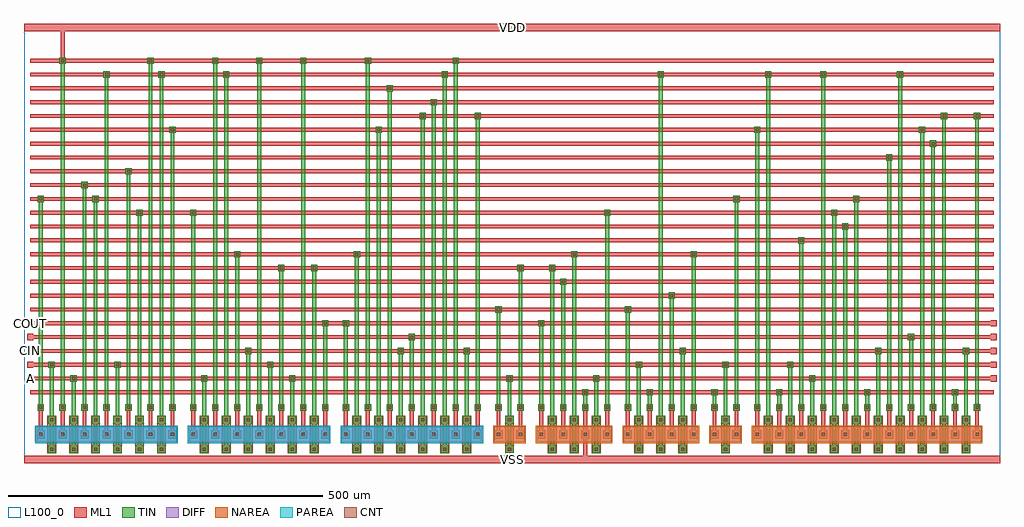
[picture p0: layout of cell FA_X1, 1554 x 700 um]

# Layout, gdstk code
import gdstk
lib = gdstk.Library(unit=1e-6, precision=1e-09)
def R(c, l, rs):  # rectangles x0, y0, x1, y1
    for r in rs: c.add(gdstk.rectangle(r[:2], r[2:], *l))
def A(c, l, x, y, w, h, nx, ny, dx, dy):  # array of equal rectangles
    R(c, l, [(x+i*dx, y+j*dy, x+i*dx+w, y+j*dy+h) for i in range(nx) for j in range(ny)])
DIFF = (3, 0)
TIN = (5, 0)
CNT = (7, 0)
ML1 = (8, 0)
PAREA = (18, 0)
NAREA = (19, 0)
L100_0 = (100, 0)

fa_x1 = lib.new_cell('FA_X1')
A(fa_x1, DIFF, 20, 34, 223, 24, 3, 1, 243, 0)
R(fa_x1, DIFF, [(749,34,797,58), (817,34,935,58), (955,34,1073,58), (1093,34,1141,58), (1161,34,1524,58)])
A(fa_x1, TIN, 37.5, 16, 13, 13, 6, 2, 35, 47)
A(fa_x1, TIN, 280.5, 16, 13, 13, 6, 2, 35, 47)
A(fa_x1, TIN, 523.5, 16, 13, 13, 6, 2, 35, 47)
A(fa_x1, TIN, 834.5, 16, 13, 13, 3, 2, 35, 47)
A(fa_x1, TIN, 972.5, 16, 13, 13, 3, 2, 35, 47)
A(fa_x1, TIN, 1178.5, 16, 13, 13, 10, 2, 35, 47)
A(fa_x1, TIN, 41, 28, 6, 37.5, 6, 1, 35, 0)
A(fa_x1, TIN, 284, 28, 6, 37.5, 6, 1, 35, 0)
A(fa_x1, TIN, 527, 28, 6, 37.5, 6, 1, 35, 0)
A(fa_x1, TIN, 838, 28, 6, 37.5, 3, 1, 35, 0)
A(fa_x1, TIN, 976, 28, 6, 37.5, 3, 1, 35, 0)
A(fa_x1, TIN, 1182, 28, 6, 37.5, 10, 1, 35, 0)
A(fa_x1, TIN, 21.5, 84, 10, 10, 7, 1, 35, 0)
A(fa_x1, TIN, 264.5, 84, 10, 10, 7, 1, 35, 0)
A(fa_x1, TIN, 507.5, 84, 10, 10, 7, 1, 35, 0)
A(fa_x1, TIN, 818.5, 84, 10, 10, 4, 1, 35, 0)
A(fa_x1, TIN, 956.5, 84, 10, 10, 4, 1, 35, 0)
A(fa_x1, TIN, 1162.5, 84, 10, 10, 11, 1, 35, 0)
A(fa_x1, TIN, 301.5, 89, 6, 552, 3, 1, 70, 0)
A(fa_x1, TIN, 890.5, 89, 6, 24, 4, 1, 103, 0)
A(fa_x1, TIN, 888.5, 108, 10, 10, 4, 1, 103, 0)
A(fa_x1, TIN, 299.5, 636, 10, 10, 3, 1, 70, 0)
R(fa_x1, TIN, [(766.5,16,779.5,29), (1110.5,16,1123.5,29), (770,28,776,65.5), (1114,28,1120,65.5), (766.5,63,779.5,76), (1110.5,63,1123.5,76), (41,69.5,47,157), (76,69.5,82,135), (111,69.5,117,421), (146,69.5,152,157), (181,69.5,187,399), (216,69.5,222,619), (284,69.5,290,135), (319,69.5,325,619), (354,69.5,360,179), (389,69.5,395,157), (424,69.5,430,135), (459,69.5,465,311), (527,69.5,533,333), (562,69.5,568,531), (597,69.5,603,179), (632,69.5,638,553), (667,69.5,673,619), (702,69.5,708,179), (770,69.5,776,135), (838,69.5,844,311), (873,69.5,879,333), (908,69.5,914,135), (976,69.5,982,157), (1011,69.5,1017,619), (1046,69.5,1052,179), (1114,69.5,1120,157), (1182,69.5,1188,619), (1217,69.5,1223,157), (1252,69.5,1258,135), (1287,69.5,1293,399), (1322,69.5,1328,421), (1357,69.5,1363,179), (1392,69.5,1398,619), (1427,69.5,1433,531), (1462,69.5,1468,553), (1497,69.5,1503,179), (750.5,84,760.5,94), (785.5,84,795.5,94), (1094.5,84,1104.5,94), (1129.5,84,1139.5,94), (23.5,89,29.5,421), (58.5,89,64.5,641), (93.5,89,99.5,443), (128.5,89,134.5,619), (163.5,89,169.5,465), (198.5,89,204.5,641), (233.5,89,239.5,531), (266.5,89,272.5,399), (336.5,89,342.5,333), (406.5,89,412.5,311), (476.5,89,482.5,223), (509.5,89,515.5,223), (544.5,89,550.5,641), (579.5,89,585.5,597), (614.5,89,620.5,201), (649.5,89,655.5,575), (684.5,89,690.5,641), (719.5,89,725.5,553), (752.5,89,758.5,245), (787.5,89,793.5,311), (820.5,89,826.5,223), (855.5,89,861.5,289), (925.5,89,931.5,399), (958.5,89,964.5,245), (1028.5,89,1034.5,267), (1063.5,89,1069.5,333), (1131.5,89,1137.5,421), (1164.5,89,1170.5,531), (1234.5,89,1240.5,355), (1269.5,89,1275.5,619), (1304.5,89,1310.5,377), (1339.5,89,1345.5,113), (1374.5,89,1380.5,487), (1409.5,89,1415.5,201), (1444.5,89,1450.5,509), (1479.5,89,1485.5,113), (1514.5,89,1520.5,553), (1337.5,108,1347.5,118), (1477.5,108,1487.5,118), (74,130,84,140), (282,130,292,140), (422,130,432,140), (768,130,778,140), (906,130,916,140), (1250,130,1260,140), (39,152,49,162), (144,152,154,162), (387,152,397,162), (974,152,984,162), (1112,152,1122,162), (1215,152,1225,162), (352,174,362,184), (595,174,605,184), (700,174,710,184), (1044,174,1054,184), (1355,174,1365,184), (1495,174,1505,184), (612.5,196,622.5,206), (1407.5,196,1417.5,206), (474.5,218,484.5,228), (507.5,218,517.5,228), (818.5,218,828.5,228), (750.5,240,760.5,250), (956.5,240,966.5,250), (1026.5,262,1036.5,272), (853.5,284,863.5,294), (404.5,306,414.5,316), (457,306,467,316), (785.5,306,795.5,316), (836,306,846,316), (334.5,328,344.5,338), (525,328,535,338), (871,328,881,338), (1061.5,328,1071.5,338), (1232.5,350,1242.5,360), (1302.5,372,1312.5,382), (179,394,189,404), (264.5,394,274.5,404), (923.5,394,933.5,404), (1285,394,1295,404), (21.5,416,31.5,426), (109,416,119,426), (1129.5,416,1139.5,426), (1320,416,1330,426), (91.5,438,101.5,448), (161.5,460,171.5,470), (1372.5,482,1382.5,492), (1442.5,504,1452.5,514), (231.5,526,241.5,536), (560,526,570,536), (1162.5,526,1172.5,536), (1425,526,1435,536), (630,548,640,558), (717.5,548,727.5,558), (1460,548,1470,558), (1512.5,548,1522.5,558), (647.5,570,657.5,580), (577.5,592,587.5,602), (126.5,614,136.5,624), (214,614,224,624), (317,614,327,624), (665,614,675,624), (1009,614,1019,624), (1180,614,1190,624), (1267.5,614,1277.5,624), (1390,614,1400,624), (56.5,636,66.5,646), (196.5,636,206.5,646), (542.5,636,552.5,646), (682.5,636,692.5,646)])
A(fa_x1, CNT, 41.5, 20, 5, 5, 6, 2, 35, 47)
A(fa_x1, CNT, 284.5, 20, 5, 5, 6, 2, 35, 47)
A(fa_x1, CNT, 527.5, 20, 5, 5, 6, 2, 35, 47)
A(fa_x1, CNT, 838.5, 20, 5, 5, 3, 2, 35, 47)
A(fa_x1, CNT, 976.5, 20, 5, 5, 3, 2, 35, 47)
A(fa_x1, CNT, 1182.5, 20, 5, 5, 10, 2, 35, 47)
A(fa_x1, CNT, 24, 43.5, 5, 5, 7, 2, 35, 43)
A(fa_x1, CNT, 267, 43.5, 5, 5, 7, 2, 35, 43)
A(fa_x1, CNT, 510, 43.5, 5, 5, 7, 2, 35, 43)
A(fa_x1, CNT, 821, 43.5, 5, 5, 4, 2, 35, 43)
A(fa_x1, CNT, 959, 43.5, 5, 5, 4, 2, 35, 43)
A(fa_x1, CNT, 1165, 43.5, 5, 5, 11, 2, 35, 43)
A(fa_x1, CNT, 891, 110.5, 5, 5, 4, 1, 103, 0)
A(fa_x1, CNT, 302, 638.5, 5, 5, 3, 1, 70, 0)
R(fa_x1, CNT, [(770.5,20,775.5,25), (1114.5,20,1119.5,25), (753,43.5,758,48.5), (788,43.5,793,48.5), (1097,43.5,1102,48.5), (1132,43.5,1137,48.5), (770.5,67,775.5,72), (1114.5,67,1119.5,72), (753,86.5,758,91.5), (788,86.5,793,91.5), (1097,86.5,1102,91.5), (1132,86.5,1137,91.5), (1340,110.5,1345,115.5), (1480,110.5,1485,115.5), (76.5,132.5,81.5,137.5), (284.5,132.5,289.5,137.5), (424.5,132.5,429.5,137.5), (770.5,132.5,775.5,137.5), (908.5,132.5,913.5,137.5), (1252.5,132.5,1257.5,137.5), (41.5,154.5,46.5,159.5), (146.5,154.5,151.5,159.5), (389.5,154.5,394.5,159.5), (976.5,154.5,981.5,159.5), (1114.5,154.5,1119.5,159.5), (1217.5,154.5,1222.5,159.5), (354.5,176.5,359.5,181.5), (597.5,176.5,602.5,181.5), (702.5,176.5,707.5,181.5), (1046.5,176.5,1051.5,181.5), (1357.5,176.5,1362.5,181.5), (1497.5,176.5,1502.5,181.5), (615,198.5,620,203.5), (1410,198.5,1415,203.5), (477,220.5,482,225.5), (510,220.5,515,225.5), (821,220.5,826,225.5), (753,242.5,758,247.5), (959,242.5,964,247.5), (1029,264.5,1034,269.5), (856,286.5,861,291.5), (407,308.5,412,313.5), (459.5,308.5,464.5,313.5), (788,308.5,793,313.5), (838.5,308.5,843.5,313.5), (337,330.5,342,335.5), (527.5,330.5,532.5,335.5), (873.5,330.5,878.5,335.5), (1064,330.5,1069,335.5), (1235,352.5,1240,357.5), (1305,374.5,1310,379.5), (181.5,396.5,186.5,401.5), (267,396.5,272,401.5), (926,396.5,931,401.5), (1287.5,396.5,1292.5,401.5), (24,418.5,29,423.5), (111.5,418.5,116.5,423.5), (1132,418.5,1137,423.5), (1322.5,418.5,1327.5,423.5), (94,440.5,99,445.5), (164,462.5,169,467.5), (1375,484.5,1380,489.5), (1445,506.5,1450,511.5), (234,528.5,239,533.5), (562.5,528.5,567.5,533.5), (1165,528.5,1170,533.5), (1427.5,528.5,1432.5,533.5), (632.5,550.5,637.5,555.5), (720,550.5,725,555.5), (1462.5,550.5,1467.5,555.5), (1515,550.5,1520,555.5), (650,572.5,655,577.5), (580,594.5,585,599.5), (129,616.5,134,621.5), (216.5,616.5,221.5,621.5), (319.5,616.5,324.5,621.5), (667.5,616.5,672.5,621.5), (1011.5,616.5,1016.5,621.5), (1182.5,616.5,1187.5,621.5), (1270,616.5,1275,621.5), (1392.5,616.5,1397.5,621.5), (59,638.5,64,643.5), (199,638.5,204,643.5), (545,638.5,550,643.5), (685,638.5,690,643.5)])
A(fa_x1, ML1, 37, 16, 14, 60, 6, 1, 35, 0)
A(fa_x1, ML1, 37.5, 16, 13, 13, 6, 2, 35, 47)
A(fa_x1, ML1, 280, 16, 14, 60, 6, 1, 35, 0)
A(fa_x1, ML1, 280.5, 16, 13, 13, 6, 2, 35, 47)
A(fa_x1, ML1, 523, 16, 14, 60, 6, 1, 35, 0)
A(fa_x1, ML1, 523.5, 16, 13, 13, 6, 2, 35, 47)
A(fa_x1, ML1, 834, 16, 14, 60, 3, 1, 35, 0)
A(fa_x1, ML1, 834.5, 16, 13, 13, 3, 2, 35, 47)
A(fa_x1, ML1, 972, 16, 14, 60, 3, 1, 35, 0)
A(fa_x1, ML1, 972.5, 16, 13, 13, 3, 2, 35, 47)
A(fa_x1, ML1, 1178, 16, 14, 60, 10, 1, 35, 0)
A(fa_x1, ML1, 1178.5, 16, 13, 13, 10, 2, 35, 47)
A(fa_x1, ML1, 20, 39.5, 13, 13, 7, 1, 35, 0)
A(fa_x1, ML1, 263, 39.5, 13, 13, 7, 1, 35, 0)
A(fa_x1, ML1, 506, 39.5, 13, 13, 7, 1, 35, 0)
A(fa_x1, ML1, 817, 39.5, 13, 13, 4, 1, 35, 0)
A(fa_x1, ML1, 955, 39.5, 13, 13, 4, 1, 35, 0)
A(fa_x1, ML1, 1161, 39.5, 13, 13, 11, 1, 35, 0)
A(fa_x1, ML1, 23.5, 46, 6, 43, 7, 1, 35, 0)
A(fa_x1, ML1, 266.5, 46, 6, 43, 7, 1, 35, 0)
A(fa_x1, ML1, 509.5, 46, 6, 43, 7, 1, 35, 0)
A(fa_x1, ML1, 820.5, 46, 6, 43, 4, 1, 35, 0)
A(fa_x1, ML1, 958.5, 46, 6, 43, 4, 1, 35, 0)
A(fa_x1, ML1, 1164.5, 46, 6, 43, 11, 1, 35, 0)
A(fa_x1, ML1, 21.5, 84, 10, 10, 7, 1, 35, 0)
A(fa_x1, ML1, 264.5, 84, 10, 10, 7, 1, 35, 0)
A(fa_x1, ML1, 507.5, 84, 10, 10, 7, 1, 35, 0)
A(fa_x1, ML1, 818.5, 84, 10, 10, 4, 1, 35, 0)
A(fa_x1, ML1, 956.5, 84, 10, 10, 4, 1, 35, 0)
A(fa_x1, ML1, 1162.5, 84, 10, 10, 11, 1, 35, 0)
A(fa_x1, ML1, 888.5, 108, 10, 10, 4, 1, 103, 0)
A(fa_x1, ML1, 10, 110, 1534, 6, 1, 25, 0, 22)
A(fa_x1, ML1, 5, 130, 10, 10, 1, 5, 0, 22)
A(fa_x1, ML1, 1539, 130, 10, 10, 1, 5, 0, 22)
A(fa_x1, ML1, 299.5, 636, 10, 10, 3, 1, 70, 0)
R(fa_x1, ML1, [(0,0,1554,12), (890.5,3,896.5,92), (766,16,780,76), (766.5,16,779.5,29), (1110,16,1124,76), (1110.5,16,1123.5,29), (749,39.5,762,52.5), (784,39.5,797,52.5), (1093,39.5,1106,52.5), (1128,39.5,1141,52.5), (752.5,46,758.5,89), (787.5,46,793.5,89), (1096.5,46,1102.5,89), (1131.5,46,1137.5,89), (766.5,63,779.5,76), (1110.5,63,1123.5,76), (750.5,84,760.5,94), (785.5,84,795.5,94), (1094.5,84,1104.5,94), (1129.5,84,1139.5,94), (1337.5,108,1347.5,118), (1477.5,108,1487.5,118), (74,130,84,140), (282,130,292,140), (422,130,432,140), (768,130,778,140), (906,130,916,140), (1250,130,1260,140), (39,152,49,162), (144,152,154,162), (387,152,397,162), (974,152,984,162), (1112,152,1122,162), (1215,152,1225,162), (352,174,362,184), (595,174,605,184), (700,174,710,184), (1044,174,1054,184), (1355,174,1365,184), (1495,174,1505,184), (612.5,196,622.5,206), (1407.5,196,1417.5,206), (474.5,218,484.5,228), (507.5,218,517.5,228), (818.5,218,828.5,228), (750.5,240,760.5,250), (956.5,240,966.5,250), (1026.5,262,1036.5,272), (853.5,284,863.5,294), (404.5,306,414.5,316), (457,306,467,316), (785.5,306,795.5,316), (836,306,846,316), (334.5,328,344.5,338), (525,328,535,338), (871,328,881,338), (1061.5,328,1071.5,338), (1232.5,350,1242.5,360), (1302.5,372,1312.5,382), (179,394,189,404), (264.5,394,274.5,404), (923.5,394,933.5,404), (1285,394,1295,404), (21.5,416,31.5,426), (109,416,119,426), (1129.5,416,1139.5,426), (1320,416,1330,426), (91.5,438,101.5,448), (161.5,460,171.5,470), (1372.5,482,1382.5,492), (1442.5,504,1452.5,514), (231.5,526,241.5,536), (560,526,570,536), (1162.5,526,1172.5,536), (1425,526,1435,536), (630,548,640,558), (717.5,548,727.5,558), (1460,548,1470,558), (1512.5,548,1522.5,558), (647.5,570,657.5,580), (577.5,592,587.5,602), (126.5,614,136.5,624), (214,614,224,624), (317,614,327,624), (665,614,675,624), (1009,614,1019,624), (1180,614,1190,624), (1267.5,614,1277.5,624), (1390,614,1400,624), (56.5,636,66.5,646), (196.5,636,206.5,646), (542.5,636,552.5,646), (682.5,636,692.5,646), (58.5,638,64.5,697), (0,688,1554,700)])
A(fa_x1, PAREA, 18, 32, 227, 28, 3, 1, 243, 0)
R(fa_x1, NAREA, [(747,32,799,60), (815,32,937,60), (953,32,1075,60), (1091,32,1143,60), (1159,32,1526,60)])
R(fa_x1, L100_0, [(0,0,1554,700)])
fa_x1.add(gdstk.Label('A', (10,135), layer=13, texttype=0))
fa_x1.add(gdstk.Label('B', (10,157), layer=13, texttype=0))
fa_x1.add(gdstk.Label('CIN', (10,179), layer=13, texttype=0))
fa_x1.add(gdstk.Label('SUM', (10,201), layer=13, texttype=0))
fa_x1.add(gdstk.Label('COUT', (10,223), layer=13, texttype=0))
fa_x1.add(gdstk.Label('VDD', (777,694), layer=13, texttype=0))
fa_x1.add(gdstk.Label('VSS', (777,6), layer=13, texttype=0))

lib.write_gds('FA_X1.gds')
